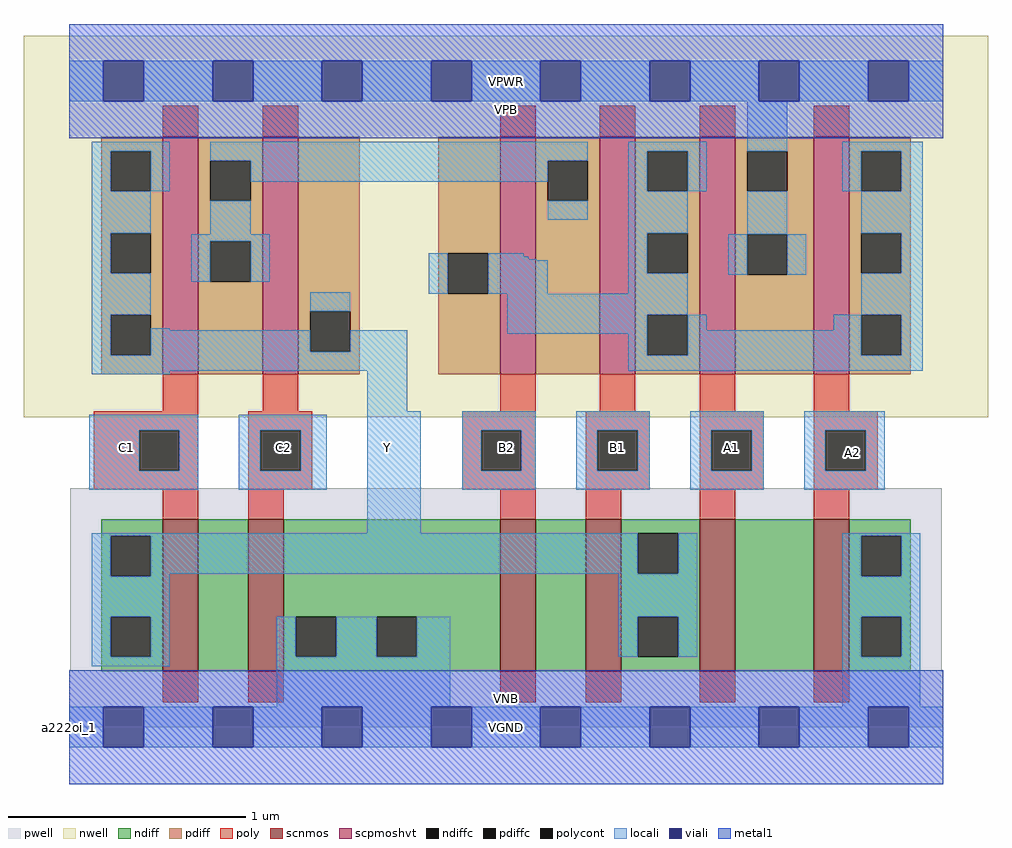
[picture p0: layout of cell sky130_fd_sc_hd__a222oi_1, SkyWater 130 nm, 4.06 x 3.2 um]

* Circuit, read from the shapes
.subckt sky130_fd_sc_hd__a222oi_1 A1 A2 B1 B2 C1 C2 VGND VNB VPB VPWR Y
XM1 n1 C1 Y VNB sky130_fd_pr__nfet_01v8 w=0.64 l=0.15
XM2 VGND C2 n1 VNB sky130_fd_pr__nfet_01v8 w=0.64 l=0.15
XM3 n2 B2 VGND VNB sky130_fd_pr__nfet_01v8 w=0.64 l=0.15
XM4 Y B1 n2 VNB sky130_fd_pr__nfet_01v8 w=0.64 l=0.15
XM5 n3 A1 Y VNB sky130_fd_pr__nfet_01v8 w=0.64 l=0.15
XM6 VGND A2 n3 VNB sky130_fd_pr__nfet_01v8 w=0.64 l=0.15
XM7 n4 C1 Y VPB sky130_fd_pr__pfet_01v8_hvt w=1 l=0.15
XM8 Y C2 n4 VPB sky130_fd_pr__pfet_01v8_hvt w=1 l=0.15
XM9 n4 B2 n5 VPB sky130_fd_pr__pfet_01v8_hvt w=1 l=0.15
XM10 n5 B1 n4 VPB sky130_fd_pr__pfet_01v8_hvt w=1 l=0.15
XM11 VPWR A1 n5 VPB sky130_fd_pr__pfet_01v8_hvt w=1 l=0.15
XM12 n5 A2 VPWR VPB sky130_fd_pr__pfet_01v8_hvt w=1 l=0.15
.ends

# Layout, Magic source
magic
tech sky130B
magscale 1 2
<< nwell >>
rect -38 261 774 582
<< pwell >>
rect 1 48 735 201
rect 0 0 736 48
<< scnmos >>
rect 79 47 109 175
rect 151 47 181 175
rect 363 47 393 175
rect 435 47 465 175
rect 531 47 561 175
rect 627 47 657 175
<< scpmoshvt >>
rect 79 297 109 497
rect 163 297 193 497
rect 363 297 393 497
rect 447 297 477 497
rect 531 297 561 497
rect 627 297 657 497
<< ndiff >>
rect 27 161 79 175
rect 27 127 35 161
rect 69 127 79 161
rect 27 93 79 127
rect 27 59 35 93
rect 69 59 79 93
rect 27 47 79 59
rect 109 47 151 175
rect 181 93 363 175
rect 181 59 191 93
rect 225 59 259 93
rect 293 59 363 93
rect 181 47 363 59
rect 393 47 435 175
rect 465 163 531 175
rect 465 129 479 163
rect 513 129 531 163
rect 465 93 531 129
rect 465 59 479 93
rect 513 59 531 93
rect 465 47 531 59
rect 561 47 627 175
rect 657 161 709 175
rect 657 127 667 161
rect 701 127 709 161
rect 657 93 709 127
rect 657 59 667 93
rect 701 59 709 93
rect 657 47 709 59
<< pdiff >>
rect 27 485 79 497
rect 27 451 35 485
rect 69 451 79 485
rect 27 416 79 451
rect 27 382 35 416
rect 69 382 79 416
rect 27 347 79 382
rect 27 313 35 347
rect 69 313 79 347
rect 27 297 79 313
rect 109 477 163 497
rect 109 443 119 477
rect 153 443 163 477
rect 109 409 163 443
rect 109 375 119 409
rect 153 375 163 409
rect 109 297 163 375
rect 193 350 245 497
rect 193 316 203 350
rect 237 316 245 350
rect 193 297 245 316
rect 311 399 363 497
rect 311 365 319 399
rect 353 365 363 399
rect 311 297 363 365
rect 393 477 447 497
rect 393 443 403 477
rect 437 443 447 477
rect 393 297 447 443
rect 477 485 531 497
rect 477 451 487 485
rect 521 451 531 485
rect 477 416 531 451
rect 477 382 487 416
rect 521 382 531 416
rect 477 347 531 382
rect 477 313 487 347
rect 521 313 531 347
rect 477 297 531 313
rect 561 485 627 497
rect 561 451 571 485
rect 605 451 627 485
rect 561 415 627 451
rect 561 381 571 415
rect 605 381 627 415
rect 561 297 627 381
rect 657 485 709 497
rect 657 451 667 485
rect 701 451 709 485
rect 657 416 709 451
rect 657 382 667 416
rect 701 382 709 416
rect 657 347 709 382
rect 657 313 667 347
rect 701 313 709 347
rect 657 297 709 313
<< ndiffc >>
rect 35 127 69 161
rect 35 59 69 93
rect 191 59 225 93
rect 259 59 293 93
rect 479 129 513 163
rect 479 59 513 93
rect 667 127 701 161
rect 667 59 701 93
<< pdiffc >>
rect 35 451 69 485
rect 35 382 69 416
rect 35 313 69 347
rect 119 443 153 477
rect 119 375 153 409
rect 203 316 237 350
rect 319 365 353 399
rect 403 443 437 477
rect 487 451 521 485
rect 487 382 521 416
rect 487 313 521 347
rect 571 451 605 485
rect 571 381 605 415
rect 667 451 701 485
rect 667 382 701 416
rect 667 313 701 347
<< poly >>
rect 79 497 109 523
rect 163 497 193 523
rect 363 497 393 523
rect 447 497 477 523
rect 531 497 561 523
rect 627 497 657 523
rect 79 266 109 297
rect 163 266 193 297
rect 363 266 393 297
rect 447 266 477 297
rect 531 266 561 297
rect 627 266 657 297
rect 21 250 109 266
rect 21 216 59 250
rect 93 216 109 250
rect 21 200 109 216
rect 79 175 109 200
rect 151 250 205 266
rect 151 216 161 250
rect 195 216 205 250
rect 151 200 205 216
rect 331 250 393 266
rect 331 216 347 250
rect 381 216 393 250
rect 331 200 393 216
rect 151 175 181 200
rect 363 175 393 200
rect 435 250 489 266
rect 435 216 445 250
rect 479 216 489 250
rect 435 200 489 216
rect 531 250 585 266
rect 531 216 541 250
rect 575 216 585 250
rect 531 200 585 216
rect 627 250 681 266
rect 627 216 637 250
rect 671 216 681 250
rect 627 200 681 216
rect 435 175 465 200
rect 531 175 561 200
rect 627 175 657 200
rect 79 21 109 47
rect 151 21 181 47
rect 363 21 393 47
rect 435 21 465 47
rect 531 21 561 47
rect 627 21 657 47
<< polycont >>
rect 59 216 93 250
rect 161 216 195 250
rect 347 216 381 250
rect 445 216 479 250
rect 541 216 575 250
rect 637 216 671 250
<< locali >>
rect 0 527 29 561
rect 63 527 121 561
rect 155 527 213 561
rect 247 527 305 561
rect 339 527 397 561
rect 431 527 489 561
rect 523 527 581 561
rect 615 527 673 561
rect 707 527 736 561
rect 19 485 85 493
rect 19 451 35 485
rect 69 451 85 485
rect 119 477 437 493
rect 19 416 69 451
rect 19 382 35 416
rect 153 459 403 477
rect 119 415 153 443
rect 403 427 437 443
rect 471 485 537 493
rect 471 451 487 485
rect 521 451 537 485
rect 571 485 605 527
rect 651 485 719 493
rect 651 451 667 485
rect 701 451 719 485
rect 471 416 521 451
rect 19 347 69 382
rect 103 409 169 415
rect 103 375 119 409
rect 153 375 169 409
rect 19 313 35 347
rect 203 350 237 366
rect 303 365 319 399
rect 353 396 383 399
rect 353 394 387 396
rect 353 393 394 394
rect 353 365 403 393
rect 471 382 487 416
rect 571 415 605 451
rect 667 416 719 451
rect 471 365 521 382
rect 555 381 571 415
rect 605 381 621 415
rect 701 382 719 416
rect 69 334 85 336
rect 69 316 203 334
rect 369 347 521 365
rect 667 347 719 382
rect 237 316 285 334
rect 369 331 487 347
rect 69 313 285 316
rect 19 300 285 313
rect 471 313 487 331
rect 521 334 537 347
rect 644 334 667 347
rect 521 313 667 334
rect 701 313 719 347
rect 471 300 719 313
rect 19 297 85 300
rect 251 266 285 300
rect 17 250 109 263
rect 17 216 59 250
rect 93 216 109 250
rect 17 200 109 216
rect 143 250 217 263
rect 143 216 161 250
rect 195 216 217 250
rect 143 200 217 216
rect 251 163 296 266
rect 331 250 393 266
rect 331 216 347 250
rect 381 216 393 250
rect 331 200 393 216
rect 427 250 489 266
rect 427 216 445 250
rect 479 216 489 250
rect 427 200 489 216
rect 523 250 585 266
rect 523 216 541 250
rect 575 216 585 250
rect 523 200 585 216
rect 619 250 687 266
rect 619 216 637 250
rect 671 216 687 250
rect 619 200 687 216
rect 19 161 479 163
rect 19 127 35 161
rect 69 129 479 161
rect 513 129 529 163
rect 69 127 85 129
rect 19 93 85 127
rect 463 93 529 129
rect 19 59 35 93
rect 69 59 85 93
rect 19 51 85 59
rect 175 59 191 93
rect 225 59 259 93
rect 293 59 321 93
rect 463 59 479 93
rect 513 59 529 93
rect 651 161 717 163
rect 651 127 667 161
rect 701 127 717 161
rect 651 93 717 127
rect 651 59 667 93
rect 701 59 717 93
rect 175 17 321 59
rect 651 17 717 59
rect 0 -17 29 17
rect 63 -17 121 17
rect 155 -17 213 17
rect 247 -17 305 17
rect 339 -17 397 17
rect 431 -17 489 17
rect 523 -17 581 17
rect 615 -17 673 17
rect 707 -17 736 17
<< viali >>
rect 29 527 63 561
rect 121 527 155 561
rect 213 527 247 561
rect 305 527 339 561
rect 397 527 431 561
rect 489 527 523 561
rect 581 527 615 561
rect 673 527 707 561
rect 29 -17 63 17
rect 121 -17 155 17
rect 213 -17 247 17
rect 305 -17 339 17
rect 397 -17 431 17
rect 489 -17 523 17
rect 581 -17 615 17
rect 673 -17 707 17
<< metal1 >>
rect 0 561 736 592
rect 0 527 29 561
rect 63 527 121 561
rect 155 527 213 561
rect 247 527 305 561
rect 339 527 397 561
rect 431 527 489 561
rect 523 527 581 561
rect 615 527 673 561
rect 707 527 736 561
rect 0 496 736 527
rect 0 17 736 48
rect 0 -17 29 17
rect 63 -17 121 17
rect 155 -17 213 17
rect 247 -17 305 17
rect 339 -17 397 17
rect 431 -17 489 17
rect 523 -17 581 17
rect 615 -17 673 17
rect 707 -17 736 17
rect 0 -48 736 -17
<< labels >>
rlabel comment s 0 0 0 0 4 a222oi_1
flabel pwell s 0 0 736 48 0 FreeSans 200 0 0 0 VNB
port 8 nsew ground bidirectional
flabel nwell s 0 496 736 544 0 FreeSans 200 0 0 0 VPB
port 9 nsew power bidirectional
flabel metal1 s 0 496 736 544 0 FreeSans 340 0 0 0 VPWR
port 10 nsew power bidirectional abutment
flabel metal1 s 0 0 736 48 0 FreeSans 340 0 0 0 VGND
port 7 nsew ground bidirectional abutment
flabel locali s 164 218 198 252 0 FreeSans 340 0 0 0 C2
port 6 nsew signal input
flabel locali s 31 218 65 252 0 FreeSans 340 0 0 0 C1
port 5 nsew signal input
flabel locali s 445 218 479 252 0 FreeSans 340 0 0 0 B1
port 3 nsew signal input
flabel locali s 643 214 677 248 0 FreeSans 340 0 0 0 A2
port 2 nsew signal input
flabel locali s 541 218 575 252 0 FreeSans 340 0 0 0 A1
port 1 nsew signal input
flabel locali s 251 218 285 252 0 FreeSans 340 0 0 0 Y
port 11 nsew signal output
flabel locali s 351 218 385 252 0 FreeSans 340 0 0 0 B2
port 4 nsew signal input
rlabel metal1 s 0 -48 736 48 1 VGND
port 7 nsew ground bidirectional abutment
rlabel metal1 s 0 496 736 592 1 VPWR
port 10 nsew power bidirectional abutment
<< properties >>
string FIXED_BBOX 0 0 736 544
string GDS_END 3675408
string GDS_FILE $PDKPATH/libs.ref/sky130_fd_sc_hd/gds/sky130_fd_sc_hd.gds
string GDS_START 3668320
string LEFclass CORE
string LEFsite unithd
string LEFsymmetry X Y R90
<< end >>
